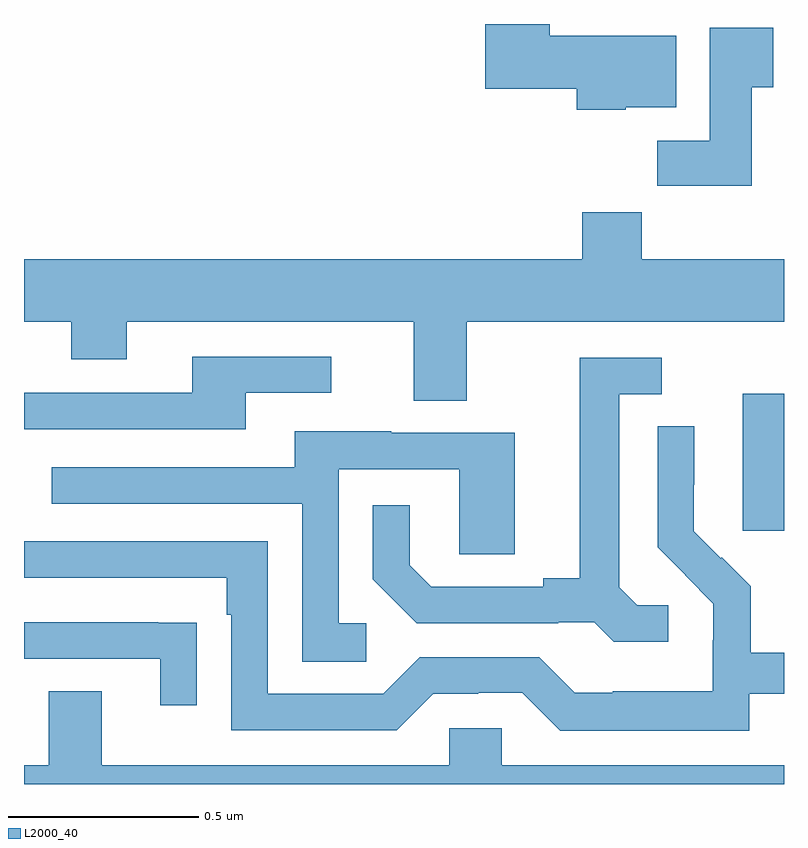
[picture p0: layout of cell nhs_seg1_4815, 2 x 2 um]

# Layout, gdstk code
import gdstk
lib = gdstk.Library(unit=1e-6, precision=1e-09)
def R(c, l, rs):  # rectangles x0, y0, x1, y1
    for r in rs: c.add(gdstk.rectangle(r[:2], r[2:], *l))
def P(c, l, *ps):  # polygons
    for p in ps: c.add(gdstk.Polygon(p, *l))
L2000_40 = (2000, 40)

nhs_seg1_4815 = lib.new_cell('nhs_seg1_4815')
R(nhs_seg1_4815, L2000_40, [(172.892,533.865,173,534.226)])
P(nhs_seg1_4815, L2000_40, [(172.584,534.98),(172.717,534.98),(172.717,535.168),(172.384,535.168),(172.384,535.199),(172.214,535.199),(172.214,535.028),(172.454,535.028),(172.454,534.974),(172.584,534.974)],
  [(172.915,535.033),(172.972,535.033),(172.972,535.189),(172.805,535.189),(172.805,534.892),(172.666,534.892),(172.666,534.774),(172.915,534.774)],
  [(172.165,534.416),(173,534.416),(173,534.58),(172.625,534.58),(172.625,534.704),(172.469,534.704),(172.469,534.58),(171,534.58),(171,534.416),(171.124,534.416),(171.124,534.317),(171.271,534.317),(171.271,534.416),(172.025,534.416),(172.025,534.208),(172.165,534.208)],
  [(171.583,534.228),(171.808,534.228),(171.808,534.324),(171.443,534.324),(171.443,534.228),(171,534.228),(171,534.132),(171.583,534.132)],
  [(172.696,533.67),(172.614,533.67),(172.567,533.717),(172.567,534.225),(172.678,534.225),(172.678,534.321),(172.463,534.321),(172.463,533.741),(172.367,533.741),(172.367,533.718),(172.072,533.718),(172.015,533.775),(172.015,533.932),(171.918,533.932),(171.918,533.738),(172.034,533.622),(172.406,533.622),(172.406,533.625),(172.5,533.625),(172.552,533.573),(172.696,533.573)],
  [(172.908,533.436),(173,533.436),(173,533.545),(172.913,533.545),(172.913,533.719),(172.836,533.796),(172.833,533.793),(172.763,533.864),(172.763,533.986),(172.764,533.986),(172.764,534.14),(172.668,534.14),(172.668,533.822),(172.741,533.749),(172.74,533.748),(172.814,533.674),(172.814,533.577),(172.812,533.577),(172.812,533.443),(172.549,533.443),(172.549,533.439),(172.449,533.439),(172.356,533.532),(172.041,533.532),(171.945,533.436),(171.642,533.436),(171.642,533.838),(171,533.838),(171,533.742),(171.533,533.742),(171.533,533.645),(171.546,533.645),(171.546,533.34),(171.981,533.34),(172.077,533.436),(172.196,533.436),(172.196,533.439),(172.311,533.439),(172.411,533.339),(172.908,533.339)],
  [(171.901,533.622),(171.828,533.622),(171.828,534.027),(172.146,534.027),(172.146,533.803),(172.291,533.803),(172.291,534.123),(171.967,534.123),(171.967,534.127),(171.713,534.127),(171.713,534.033),(171.073,534.033),(171.073,533.937),(171.732,533.937),(171.732,533.521),(171.901,533.521)],
  [(171.455,533.624),(171.353,533.624),(171.353,533.625),(171,533.625),(171,533.529),(171.359,533.529),(171.359,533.406),(171.455,533.406)],
  [(173,533.248),(172.257,533.248),(172.257,533.346),(172.119,533.346),(172.119,533.248),(171.205,533.248),(171.205,533.443),(171.065,533.443),(171.065,533.248),(171,533.248),(171,533.199),(173,533.199)])

lib.write_gds('nhs_seg1_4815.gds')
